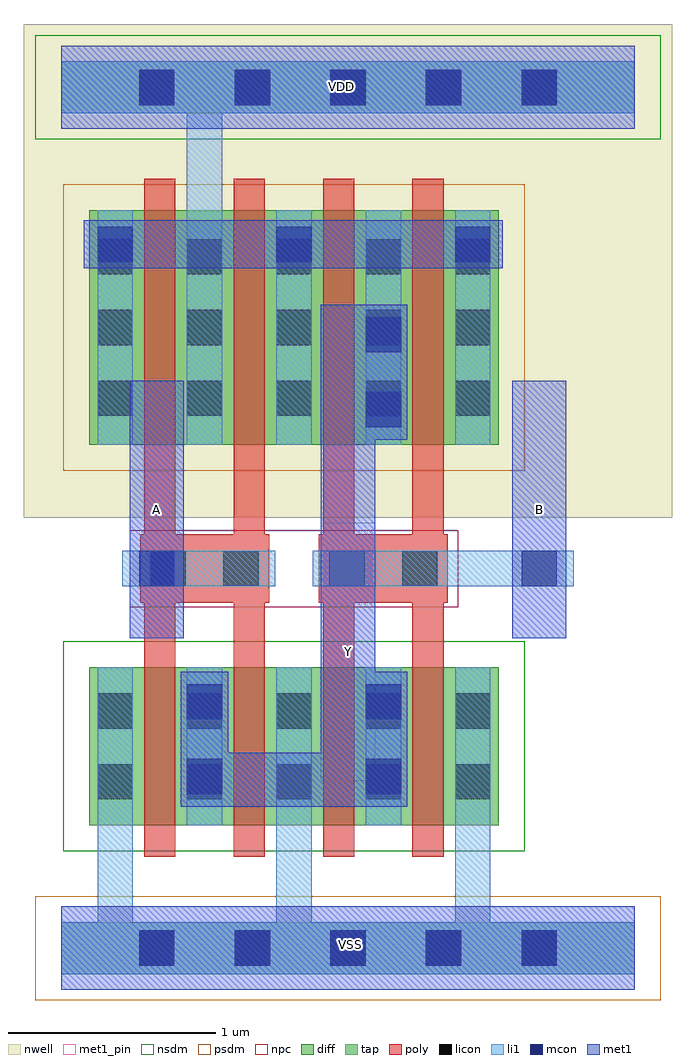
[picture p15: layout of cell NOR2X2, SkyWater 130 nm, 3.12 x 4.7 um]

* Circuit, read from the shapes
.subckt NOR2X2 A B VDD VSS Y
XM1 Y A VSS VSS sky130_fd_pr__nfet_01v8 w=0.76 l=0.15 m=2
XM2 Y B VSS VSS sky130_fd_pr__nfet_01v8 w=0.76 l=0.15 m=2
XM3 VDD A n1 VDD sky130_fd_pr__pfet_01v8 w=1.13 l=0.15 m=2
XM4 Y B n1 VDD sky130_fd_pr__pfet_01v8 w=1.13 l=0.15 m=2
.ends

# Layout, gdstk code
import gdstk
lib = gdstk.Library(unit=1e-6, precision=1e-09)
def R(c, l, rs):  # rectangles x0, y0, x1, y1
    for r in rs: c.add(gdstk.rectangle(r[:2], r[2:], *l))
def A(c, l, x, y, w, h, nx, ny, dx, dy):  # array of equal rectangles
    R(c, l, [(x+i*dx, y+j*dy, x+i*dx+w, y+j*dy+h) for i in range(nx) for j in range(ny)])
nwell = (64, 20)
diff = (65, 20)
tap = (65, 44)
poly = (66, 20)
licon = (66, 44)
li1 = (67, 20)
mcon = (67, 44)
met1_pin = (68, 16)
met1 = (68, 20)
nsdm = (93, 44)
psdm = (94, 20)
npc = (95, 20)

nor2x2 = lib.new_cell('NOR2X2')
R(nor2x2, nwell, [(-0.18,2.07,2.94,4.445)])
R(nor2x2, diff, [(0.135,0.59,2.105,1.35), (0.135,2.42,2.105,3.55)])
R(nor2x2, tap, [(0,-0.125,2.76,0.125), (0,4.015,2.76,4.265)])
A(nor2x2, poly, 0.4, 0.44, 0.15, 1.22, 4, 1, 0.43, 0)
A(nor2x2, poly, 0.4, 1.99, 0.15, 1.71, 4, 1, 0.43, 0)
R(nor2x2, poly, [(0.38,1.66,1,1.99), (1.24,1.66,1.86,1.99)])
A(nor2x2, licon, 0.375, -0.085, 0.17, 0.17, 5, 2, 0.46, 4.14)
A(nor2x2, licon, 0.175, 0.715, 0.17, 0.17, 5, 2, 0.43, 0.34)
A(nor2x2, licon, 0.175, 2.56, 0.17, 0.17, 5, 3, 0.43, 0.34)
R(nor2x2, licon, [(0.43,1.74,0.6,1.91), (0.78,1.74,0.95,1.91), (1.29,1.74,1.46,1.91), (1.64,1.74,1.81,1.91)])
A(nor2x2, li1, 0.175, 0.125, 0.17, 1.225, 3, 1, 0.86, 0)
A(nor2x2, li1, 1.035, 2.42, 0.17, 1.13, 3, 1, 0.43, 0)
R(nor2x2, li1, [(0,-0.125,2.76,0.125), (0.605,0.59,0.775,1.35), (1.465,0.59,1.635,1.35), (0.295,1.74,1.03,1.91), (1.21,1.74,2.465,1.91), (0.175,2.42,0.345,3.55), (0.605,2.42,0.775,4.015), (0,4.015,2.76,4.265)])
A(nor2x2, mcon, 0.375, -0.085, 0.17, 0.17, 5, 2, 0.46, 4.14)
A(nor2x2, mcon, 0.175, 3.3, 0.17, 0.17, 3, 1, 0.86, 0)
R(nor2x2, mcon, [(0.605,0.74,0.775,0.91), (1.465,0.74,1.635,0.91), (0.605,1.1,0.775,1.27), (1.465,1.1,1.635,1.27), (0.375,1.74,0.545,1.91), (2.215,1.74,2.385,1.91), (1.465,2.505,1.635,2.675), (1.465,2.865,1.635,3.035)])
R(nor2x2, met1_pin, [(1.25,0.805,1.51,2.045), (0.33,1.49,0.59,2.73), (2.17,1.49,2.43,2.73)])
R(nor2x2, met1, [(0,-0.2,2.76,0.2), (0.575,0.68,1.665,0.94), (0.575,0.94,0.805,1.33), (1.25,0.94,1.665,1.33), (1.25,1.33,1.51,2.445), (0.33,1.49,0.59,2.73), (2.17,1.49,2.43,2.73), (1.25,2.445,1.665,3.095), (0.11,3.27,2.125,3.5), (0,3.94,2.76,4.34)])
R(nor2x2, nsdm, [(0.01,0.465,2.23,1.475), (-0.125,3.89,2.885,4.39)])
R(nor2x2, psdm, [(-0.125,-0.25,2.885,0.25), (0.01,2.295,2.23,3.675)])
R(nor2x2, npc, [(0.33,1.64,1.91,2.01)])
nor2x2.add(gdstk.Label('VSS', (1.39,0.015), layer=68, texttype=5))
nor2x2.add(gdstk.Label('VDD', (1.35,4.145), layer=68, texttype=5))
nor2x2.add(gdstk.Label('A', (0.46,2.11), layer=68, texttype=5))
nor2x2.add(gdstk.Label('B', (2.3,2.11), layer=68, texttype=5))
nor2x2.add(gdstk.Label('Y', (1.38,1.425), layer=68, texttype=5))

lib.write_gds('NOR2X2.gds')
